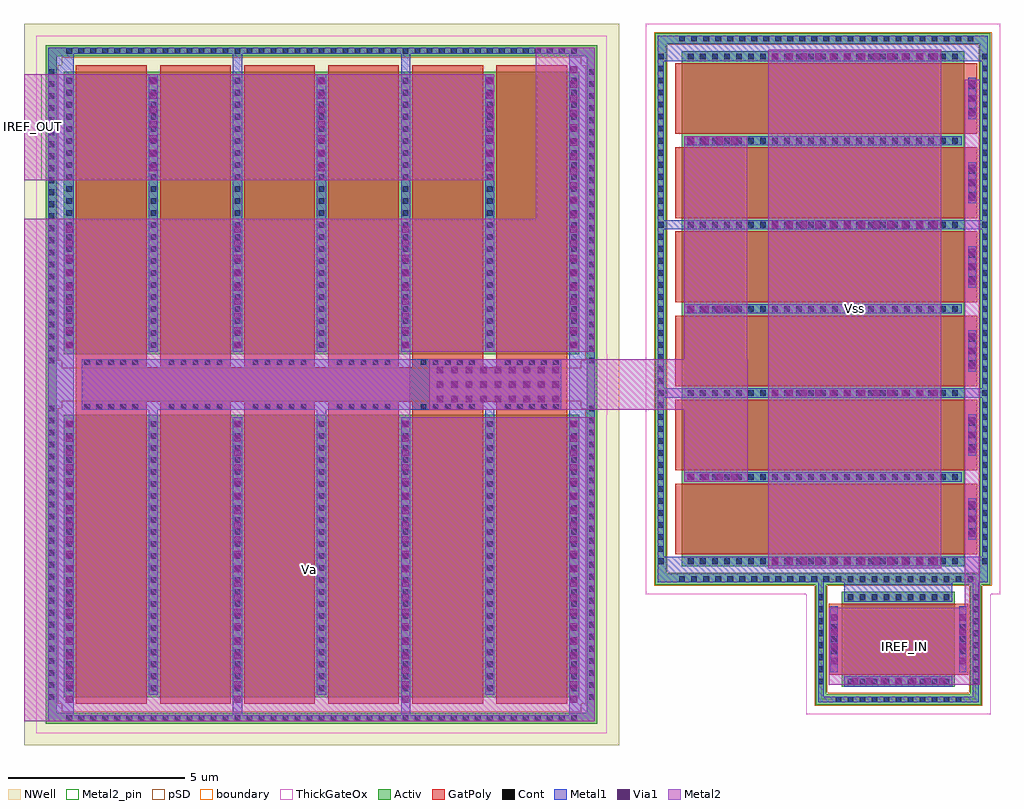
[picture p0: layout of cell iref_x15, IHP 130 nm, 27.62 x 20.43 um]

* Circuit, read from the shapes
.subckt iref_x15 IREF_IN IREF_OUT Va Vss
XM1 dev_p_w8_l2_ng6_openn_botc0_2/G0 IREF_IN Vss Vss sg13_hv_nmos w=8u l=2u m=6
XM2 Vss IREF_IN IREF_IN Vss sg13_hv_nmos w=3.2u l=2u
XM3 dev_p_w8_l2_ng6_openn_botc0_2/G0 dev_p_w8_l2_ng6_openn_botc0_2/G0 Va Va sg13_hv_pmos w=8u l=2u m=6
XM4 IREF_OUT dev_p_w8_l2_ng6_openn_botc0_2/G0 Va Va sg13_hv_pmos w=8u l=2u m=6
.ends

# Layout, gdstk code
from math import pi, radians
import gdstk
lib = gdstk.Library(unit=1e-6, precision=1e-09)
def R(c, l, rs):  # rectangles x0, y0, x1, y1
    for r in rs: c.add(gdstk.rectangle(r[:2], r[2:], *l))
def A(c, l, x, y, w, h, nx, ny, dx, dy):  # array of equal rectangles
    R(c, l, [(x+i*dx, y+j*dy, x+i*dx+w, y+j*dy+h) for i in range(nx) for j in range(ny)])
Activ = (1, 0)
GatPoly = (5, 0)
Cont = (6, 0)
Metal1 = (8, 0)
Metal2 = (10, 0)
Metal2_pin = (10, 2)
pSD = (14, 0)
Via1 = (19, 0)
NWell = (31, 0)
ThickGateOx = (44, 0)
boundary = (189, 4)

dev_n_w3p2_l2_ng1 = lib.new_cell('dev_n_w3p2_l2_ng1')
R(dev_n_w3p2_l2_ng1, Activ, [(-1.85,-2.34,1.85,-2.04), (-1.85,-2.04,-1.55,2.04), (1.55,-2.04,1.85,2.04), (-1.34,-1.6,1.34,1.6), (-1.85,2.04,1.85,2.34)])
R(dev_n_w3p2_l2_ng1, GatPoly, [(-1,-1.97,1,1.97)])
A(dev_n_w3p2_l2_ng1, Cont, -1.27, -2.27, 0.16, 0.16, 8, 2, 0.34, 4.38)
A(dev_n_w3p2_l2_ng1, Cont, -0.42, -1.9, 0.16, 0.16, 3, 2, 0.34, 3.64)
A(dev_n_w3p2_l2_ng1, Cont, -1.78, -1.78, 0.16, 0.16, 1, 11, 0, 0.34)
A(dev_n_w3p2_l2_ng1, Cont, 1.62, -1.78, 0.16, 0.16, 1, 11, 0, 0.34)
A(dev_n_w3p2_l2_ng1, Cont, -1.27, -1.44, 0.16, 0.16, 1, 9, 0, 0.34)
A(dev_n_w3p2_l2_ng1, Cont, 1.11, -1.44, 0.16, 0.16, 1, 9, 0, 0.34)
R(dev_n_w3p2_l2_ng1, Metal1, [(-1.78,-2.27,1.78,-2.11), (-1.78,-2.11,-1.62,2.11), (1.62,-2.11,1.78,2.11), (-0.94,-1.925,0.94,-1.715), (-1.34,-1.53,-1.04,1.53), (1.06,-1.53,1.32,1.53), (-0.94,1.715,0.94,1.925), (-1.78,2.11,1.78,2.27)])
R(dev_n_w3p2_l2_ng1, Metal2, [(-0.89,-1.965,0.89,-1.675), (-1.29,-1.57,-1.09,1.57), (-0.89,1.675,0.89,1.965)])
R(dev_n_w3p2_l2_ng1, pSD, [(-1.88,-2.37,1.88,-2.01), (-1.88,-2.01,-1.52,2.01), (1.52,-2.01,1.88,2.01), (-1.88,2.01,1.88,2.37)])
A(dev_n_w3p2_l2_ng1, Via1, -0.71, -1.915, 0.19, 0.19, 4, 2, 0.41, 3.64)
A(dev_n_w3p2_l2_ng1, Via1, -1.285, -1.325, 0.19, 0.19, 1, 7, 0, 0.41)
R(dev_n_w3p2_l2_ng1, ThickGateOx, [(-2.12,-2.61,2.12,2.61)])
R(dev_n_w3p2_l2_ng1, boundary, [(-1.7,-2.19,1.7,2.19)])
dev_n_w3p2_l2_ng1.add(gdstk.Label('B', (0,-2.19), layer=8, texttype=25))
dev_n_w3p2_l2_ng1.add(gdstk.Label('D', (-1.19,0), layer=8, texttype=25))
dev_n_w3p2_l2_ng1.add(gdstk.Label('S', (1.19,0), layer=8, texttype=25))
dev_n_w3p2_l2_ng1.add(gdstk.Label('G', (0,1.82), layer=8, texttype=25))

dev_n_w8_l2_ng6 = lib.new_cell('dev_n_w8_l2_ng6')
R(dev_n_w8_l2_ng6, Activ, [(-7.8,-4.74,7.8,-4.44), (-7.8,-4.44,-7.5,4.44), (7.5,-4.44,7.8,4.44), (-7.29,-4,7.29,4), (-7.8,4.44,7.8,4.74)])
A(dev_n_w8_l2_ng6, GatPoly, -6.95, -4.18, 2, 8.55, 6, 1, 2.38, 0)
A(dev_n_w8_l2_ng6, Cont, -7.22, -4.67, 0.16, 0.16, 43, 2, 0.34, 9.18)
A(dev_n_w8_l2_ng6, Cont, -7.73, -4.065, 0.16, 0.16, 1, 25, 0, 0.34)
A(dev_n_w8_l2_ng6, Cont, 7.57, -4.065, 0.16, 0.16, 1, 25, 0, 0.34)
A(dev_n_w8_l2_ng6, Cont, -7.22, -3.82, 0.16, 0.16, 7, 23, 2.38, 0.34)
A(dev_n_w8_l2_ng6, Cont, -6.37, 4.14, 0.16, 0.16, 3, 1, 0.34, 0)
A(dev_n_w8_l2_ng6, Cont, -3.99, 4.14, 0.16, 0.16, 3, 1, 0.34, 0)
A(dev_n_w8_l2_ng6, Cont, -1.61, 4.14, 0.16, 0.16, 3, 1, 0.34, 0)
A(dev_n_w8_l2_ng6, Cont, 0.77, 4.14, 0.16, 0.16, 3, 1, 0.34, 0)
A(dev_n_w8_l2_ng6, Cont, 3.15, 4.14, 0.16, 0.16, 3, 1, 0.34, 0)
A(dev_n_w8_l2_ng6, Cont, 5.53, 4.14, 0.16, 0.16, 3, 1, 0.34, 0)
A(dev_n_w8_l2_ng6, Metal1, -7.27, -3.93, 0.26, 7.86, 7, 1, 2.38, 0)
A(dev_n_w8_l2_ng6, Metal1, -6.535, 4.115, 1.17, 0.21, 6, 1, 2.38, 0)
R(dev_n_w8_l2_ng6, Metal1, [(-7.73,-4.67,7.73,-4.51), (-7.73,-4.51,-7.57,4.51), (7.57,-4.51,7.73,4.51), (-7.73,4.51,7.73,4.67)])
A(dev_n_w8_l2_ng6, Metal2, -6.485, 4.075, 1.07, 0.29, 6, 1, 2.38, 0)
R(dev_n_w8_l2_ng6, pSD, [(-7.83,-4.77,7.83,-4.41), (-7.83,-4.41,-7.47,4.41), (7.47,-4.41,7.83,4.41), (-7.83,4.41,7.83,4.77)])
A(dev_n_w8_l2_ng6, Via1, -6.455, 4.125, 0.19, 0.19, 3, 1, 0.41, 0)
A(dev_n_w8_l2_ng6, Via1, -4.075, 4.125, 0.19, 0.19, 3, 1, 0.41, 0)
A(dev_n_w8_l2_ng6, Via1, -1.695, 4.125, 0.19, 0.19, 3, 1, 0.41, 0)
A(dev_n_w8_l2_ng6, Via1, 0.685, 4.125, 0.19, 0.19, 3, 1, 0.41, 0)
A(dev_n_w8_l2_ng6, Via1, 3.065, 4.125, 0.19, 0.19, 3, 1, 0.41, 0)
A(dev_n_w8_l2_ng6, Via1, 5.445, 4.125, 0.19, 0.19, 3, 1, 0.41, 0)
R(dev_n_w8_l2_ng6, ThickGateOx, [(-8.07,-5.01,8.07,5.01)])
dev_n_w8_l2_ng6.add(gdstk.Label('B', (0,-4.59), layer=8, texttype=25))
dev_n_w8_l2_ng6.add(gdstk.Label('D0', (-7.14,0), layer=8, texttype=25))
dev_n_w8_l2_ng6.add(gdstk.Label('G0', (-5.95,4.22), layer=8, texttype=25))
dev_n_w8_l2_ng6.add(gdstk.Label('S1', (-4.76,0), layer=8, texttype=25))
dev_n_w8_l2_ng6.add(gdstk.Label('G1', (-3.57,4.22), layer=8, texttype=25))
dev_n_w8_l2_ng6.add(gdstk.Label('D2', (-2.38,0), layer=8, texttype=25))
dev_n_w8_l2_ng6.add(gdstk.Label('G2', (-1.19,4.22), layer=8, texttype=25))
dev_n_w8_l2_ng6.add(gdstk.Label('S3', (0,0), layer=8, texttype=25))
dev_n_w8_l2_ng6.add(gdstk.Label('G3', (1.19,4.22), layer=8, texttype=25))
dev_n_w8_l2_ng6.add(gdstk.Label('D4', (2.38,0), layer=8, texttype=25))
dev_n_w8_l2_ng6.add(gdstk.Label('G4', (3.57,4.22), layer=8, texttype=25))
dev_n_w8_l2_ng6.add(gdstk.Label('S5', (4.76,0), layer=8, texttype=25))
dev_n_w8_l2_ng6.add(gdstk.Label('G5', (5.95,4.22), layer=8, texttype=25))

dev_p_w8_l2_ng6_openn_bo = lib.new_cell('dev_p_w8_l2_ng6_openn_botc0')
R(dev_p_w8_l2_ng6_openn_bo, Activ, [(-7.8,-4.835,7.8,-4.535), (-7.8,-4.535,-7.5,4.345), (7.5,-4.535,7.8,4.345), (-7.29,-4.095,7.29,3.905)])
A(dev_p_w8_l2_ng6_openn_bo, GatPoly, -6.95, -4.275, 2, 8.55, 6, 1, 2.38, 0)
A(dev_p_w8_l2_ng6_openn_bo, Cont, -7.22, -4.765, 0.16, 0.16, 43, 1, 0.34, 0)
A(dev_p_w8_l2_ng6_openn_bo, Cont, -7.73, -4.16, 0.16, 0.16, 1, 25, 0, 0.34)
A(dev_p_w8_l2_ng6_openn_bo, Cont, 7.57, -4.16, 0.16, 0.16, 1, 25, 0, 0.34)
A(dev_p_w8_l2_ng6_openn_bo, Cont, -7.22, -3.915, 0.16, 0.16, 7, 23, 2.38, 0.34)
A(dev_p_w8_l2_ng6_openn_bo, Cont, -6.71, 4.045, 0.16, 0.16, 5, 1, 0.34, 0)
A(dev_p_w8_l2_ng6_openn_bo, Cont, -4.33, 4.045, 0.16, 0.16, 5, 1, 0.34, 0)
A(dev_p_w8_l2_ng6_openn_bo, Cont, -1.95, 4.045, 0.16, 0.16, 5, 1, 0.34, 0)
A(dev_p_w8_l2_ng6_openn_bo, Cont, 0.43, 4.045, 0.16, 0.16, 5, 1, 0.34, 0)
A(dev_p_w8_l2_ng6_openn_bo, Cont, 2.81, 4.045, 0.16, 0.16, 5, 1, 0.34, 0)
A(dev_p_w8_l2_ng6_openn_bo, Cont, 5.19, 4.045, 0.16, 0.16, 5, 1, 0.34, 0)
A(dev_p_w8_l2_ng6_openn_bo, Metal1, -7.27, -4.025, 0.26, 7.86, 7, 1, 2.38, 0)
A(dev_p_w8_l2_ng6_openn_bo, Metal1, -6.79, 4.045, 1.68, 0.16, 6, 1, 2.38, 0)
R(dev_p_w8_l2_ng6_openn_bo, Metal1, [(-7.73,-4.765,7.73,-4.605), (-7.73,-4.605,-7.57,4.345), (7.57,-4.605,7.73,4.345)])
R(dev_p_w8_l2_ng6_openn_bo, pSD, [(-7.35,-4.495,7.35,-4.275), (-7.47,-4.275,7.47,4.085), (-7.35,4.085,7.35,4.305)])
R(dev_p_w8_l2_ng6_openn_bo, NWell, [(-8.42,-5.455,8.42,5.265)])
R(dev_p_w8_l2_ng6_openn_bo, ThickGateOx, [(-8.07,-5.105,8.07,3.9), (-8.08,3.9,8.08,4.175), (-8.08,4.175,-7.22,4.76), (7.22,4.175,8.08,4.76)])
dev_p_w8_l2_ng6_openn_bo.add(gdstk.Label('B', (0,-4.59), layer=8, texttype=25))
dev_p_w8_l2_ng6_openn_bo.add(gdstk.Label('D0', (-7.14,0), layer=8, texttype=25))
dev_p_w8_l2_ng6_openn_bo.add(gdstk.Label('G0', (-5.95,4.22), layer=8, texttype=25))
dev_p_w8_l2_ng6_openn_bo.add(gdstk.Label('S1', (-4.76,0), layer=8, texttype=25))
dev_p_w8_l2_ng6_openn_bo.add(gdstk.Label('G1', (-3.57,4.22), layer=8, texttype=25))
dev_p_w8_l2_ng6_openn_bo.add(gdstk.Label('D2', (-2.38,0), layer=8, texttype=25))
dev_p_w8_l2_ng6_openn_bo.add(gdstk.Label('G2', (-1.19,4.22), layer=8, texttype=25))
dev_p_w8_l2_ng6_openn_bo.add(gdstk.Label('S3', (0,0), layer=8, texttype=25))
dev_p_w8_l2_ng6_openn_bo.add(gdstk.Label('G3', (1.19,4.22), layer=8, texttype=25))
dev_p_w8_l2_ng6_openn_bo.add(gdstk.Label('D4', (2.38,0), layer=8, texttype=25))
dev_p_w8_l2_ng6_openn_bo.add(gdstk.Label('G4', (3.57,4.22), layer=8, texttype=25))
dev_p_w8_l2_ng6_openn_bo.add(gdstk.Label('S5', (4.76,0), layer=8, texttype=25))
dev_p_w8_l2_ng6_openn_bo.add(gdstk.Label('G5', (5.95,4.22), layer=8, texttype=25))

iref_x15 = lib.new_cell('iref_x15')
R(iref_x15, Activ, [(2.54,31.405,2.84,32.235), (17.84,31.405,18.14,32.235)])
R(iref_x15, GatPoly, [(3.39,31.335,17.29,32.305)])
A(iref_x15, Metal1, 5.45, 30.895, 0.26, 0.21, 3, 1, 4.76, 0)
R(iref_x15, Metal1, [(2.77,22.455,3.33,41.185), (7.83,22.455,8.09,23.035), (12.59,22.455,12.85,23.035), (17.35,22.455,17.91,41.185), (25.135,25.93,28.195,26.27), (20.02,26.39,20.6,26.95), (20.6,26.39,28.46,26.69), (28.46,26.39,29.04,26.95), (3.55,31.105,17.13,32.535), (2.61,31.405,2.77,32.235), (17.91,31.405,18.07,32.235), (20.02,31.45,20.6,31.71), (28.46,31.45,29.04,31.71), (20.02,36.21,20.6,36.47), (28.46,36.21,29.06,36.47), (7.83,40.605,8.09,41.185), (12.59,40.605,12.85,41.185), (20.02,40.97,20.6,41.53), (28.46,40.97,29.04,41.53), (20.6,41.23,28.46,41.53)])
A(iref_x15, Metal2, 28.605, 28.545, 0.29, 1.31, 1, 5, 0, 2.38)
R(iref_x15, Metal2, [(1.92,22.295,18.07,30.895), (24.7,23.32,28.63,25.5), (28.63,23.32,28.96,25.37), (28.54,25.37,28.96,27.475), (22.975,26.625,27.875,41.295), (28.54,27.475,28.605,40.445), (28.895,27.475,28.96,40.445), (20.6,29.07,22.4,31.105), (1.92,30.895,12.85,32.745), (13.395,31.105,18.5,32.535), (18.5,31.105,22.4,32.535), (20.6,32.535,22.39,38.85), (1.92,32.745,17.61,36.51), (17.61,32.745,18.07,36.51), (16.4,36.51,18.07,41.345), (1.92,37.6,15.23,40.6)])
R(iref_x15, Metal2_pin, [(26.68,24.26,26.98,24.56), (9.845,26.445,10.145,26.745), (25.275,33.81,25.575,34.11), (1.92,37.6,2.42,40.6)])
A(iref_x15, Via1, 3.105, 22.82, 0.19, 0.19, 4, 20, 4.76, 0.41)
A(iref_x15, Via1, 23.075, 26.725, 0.19, 0.19, 12, 4, 0.41, 4.76)
A(iref_x15, Via1, 20.695, 29.105, 0.19, 0.19, 4, 3, 0.41, 4.76)
A(iref_x15, Via1, 13.595, 31.315, 0.19, 0.19, 9, 3, 0.41, 0.41)
A(iref_x15, Via1, 3.105, 32.84, 0.19, 0.19, 4, 9, 4.76, 0.41)
A(iref_x15, Via1, 17.385, 36.53, 0.19, 0.19, 1, 11, 0, 0.41)
A(iref_x15, Via1, 5.485, 37.86, 0.19, 0.19, 3, 7, 4.76, 0.41)
R(iref_x15, Via1, [(24.75,23.9,24.94,24.09)])
R(iref_x15, ThickGateOx, [(3.12,31.235,17.56,32.405)])
iref_x15.add(gdstk.Reference(dev_n_w3p2_l2_ng1, (26.665,24.61), rotation=pi/2))
iref_x15.add(gdstk.Reference(dev_n_w8_l2_ng6, (24.53,33.96), rotation=3*pi/2))
iref_x15.add(gdstk.Reference(dev_p_w8_l2_ng6_openn_bo, (10.34,27.06)))
iref_x15.add(gdstk.Reference(dev_p_w8_l2_ng6_openn_bo, (10.34,36.58), rotation=pi))
iref_x15.add(gdstk.Label('Va', (9.995,26.595), layer=10, texttype=25))
iref_x15.add(gdstk.Label('Vss', (25.425,33.96), layer=10, texttype=25))
iref_x15.add(gdstk.Label('IREF_IN', (26.83,24.41), layer=10, texttype=25))
iref_x15.add(gdstk.Label('IREF_OUT', (2.17,39.11), layer=10, texttype=25))

lib.write_gds('iref_x15.gds')
